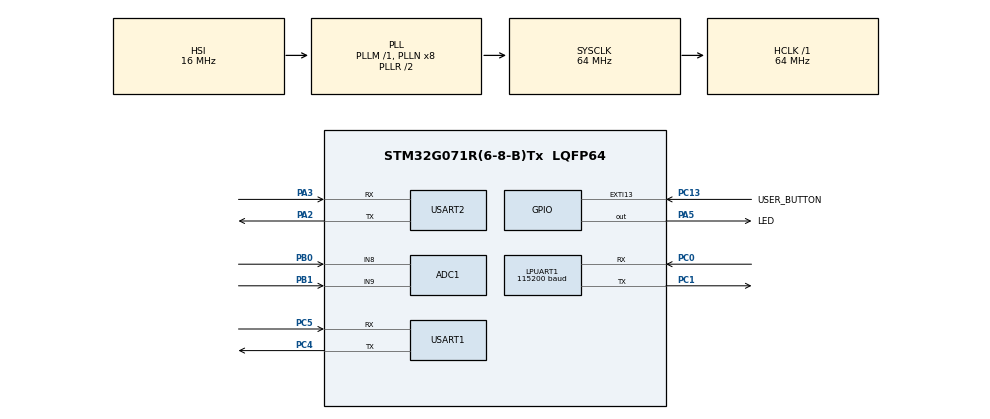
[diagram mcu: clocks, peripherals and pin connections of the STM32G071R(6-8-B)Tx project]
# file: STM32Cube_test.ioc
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ADC1.ClockPrescaler=ADC_CLOCK_ASYNC_DIV1
ADC1.ContinuousConvMode=ENABLE
ADC1.DMAContinuousRequests=ENABLE
ADC1.EOCSelection=ADC_EOC_SEQ_CONV
ADC1.NbrOfConversion=1
ADC1.NbrOfConversionFlag=0
ADC1.SamplingTimeCommon1=ADC_SAMPLETIME_3CYCLES_5
ADC1.Sequencer=NOT_FULLY_CONFIGURABLE
ADC1.master=1
Dma.ADC1.1.Direction=DMA_PERIPH_TO_MEMORY
Dma.ADC1.1.EventEnable=DISABLE
Dma.ADC1.1.Instance=DMA1_Channel2
Dma.ADC1.1.MemDataAlignment=DMA_MDATAALIGN_WORD
Dma.ADC1.1.MemInc=DMA_MINC_ENABLE
Dma.ADC1.1.Mode=DMA_CIRCULAR
Dma.ADC1.1.PeriphDataAlignment=DMA_PDATAALIGN_WORD
Dma.ADC1.1.PeriphInc=DMA_PINC_DISABLE
Dma.ADC1.1.Polarity=HAL_DMAMUX_REQ_GEN_RISING
Dma.ADC1.1.Priority=DMA_PRIORITY_LOW
Dma.ADC1.1.RequestNumber=1
Dma.ADC1.1.SignalID=NONE
Dma.ADC1.1.SyncEnable=DISABLE
Dma.ADC1.1.SyncPolarity=HAL_DMAMUX_SYNC_NO_EVENT
Dma.ADC1.1.SyncRequestNumber=1
Dma.ADC1.1.SyncSignalID=NONE
Dma.Request0=USART1_RX
Dma.Request1=ADC1
Dma.USART1_RX.0.Direction=DMA_PERIPH_TO_MEMORY
Dma.USART1_RX.0.EventEnable=DISABLE
Dma.USART1_RX.0.Instance=DMA1_Channel1
Dma.USART1_RX.0.MemDataAlignment=DMA_MDATAALIGN_BYTE
Dma.USART1_RX.0.MemInc=DMA_MINC_ENABLE
Dma.USART1_RX.0.Mode=DMA_NORMAL
Dma.USART1_RX.0.PeriphDataAlignment=DMA_PDATAALIGN_BYTE
Dma.USART1_RX.0.PeriphInc=DMA_PINC_DISABLE
Dma.USART1_RX.0.Polarity=HAL_DMAMUX_REQ_GEN_RISING
Dma.USART1_RX.0.Priority=DMA_PRIORITY_LOW
Dma.USART1_RX.0.RequestNumber=1
Dma.USART1_RX.0.SignalID=NONE
Dma.USART1_RX.0.SyncEnable=DISABLE
Dma.USART1_RX.0.SyncPolarity=HAL_DMAMUX_SYNC_NO_EVENT
Dma.USART1_RX.0.SyncRequestNumber=1
Dma.USART1_RX.0.SyncSignalID=NONE
IWDG.Prescaler=IWDG_PRESCALER_128
IWDG.Reload=2500
IWDG.Window=2500
LPUART1.BaudRate=115200
LPUART1.WordLength=UART_WORDLENGTH_8B
Mcu.Family=STM32G0
Mcu.Name=STM32G071R(6-8-B)Tx
Mcu.Package=LQFP64
NVIC.DMA1_Channel1_IRQn=true\:0\:0\:false\:false\:true\:false\:true
NVIC.DMA1_Channel2_3_IRQn=true\:0\:0\:false\:false\:true\:false\:true
NVIC.EXTI4_15_IRQn=true\:0\:0\:false\:false\:true\:true\:true
NVIC.USART1_IRQn=true\:0\:0\:false\:false\:true\:true\:true
NVIC.USART2_IRQn=true\:0\:0\:false\:false\:true\:true\:true
NVIC.USART3_4_LPUART1_IRQn=true\:0\:0\:false\:false\:true\:true\:true
PA13.Mode=Serial_Wire
PA13.Signal=SYS_SWDIO
PA14-BOOT0.Mode=Serial_Wire
PA14-BOOT0.Signal=SYS_SWCLK
PA2.Mode=Asynchronous
PA2.Signal=USART2_TX
PA3.Mode=Asynchronous
PA3.Signal=USART2_RX
PA5.GPIO_Label=LED
PA5.Signal=GPIO_Output
PB0.Mode=IN8
PB0.Signal=ADC1_IN8
PB1.Mode=IN9
PB1.Signal=ADC1_IN9
PC0.Mode=Asynchronous
PC0.Signal=LPUART1_RX
PC1.Mode=Asynchronous
PC1.Signal=LPUART1_TX
PC13.GPIO_Label=USER_BUTTON
PC13.Signal=GPXTI13
PC4.Mode=Asynchronous
PC4.Signal=USART1_TX
PC5.Mode=Asynchronous
PC5.Signal=USART1_RX
ProjectManager.HeapSize=0x200
ProjectManager.StackSize=0x400
ProjectManager.TargetToolchain=MDK-ARM V5
RCC.ADCFreq_Value=64000000
RCC.AHBFreq_Value=64000000
RCC.CortexFreq_Value=64000000
RCC.EXTERNAL_CLOCK_VALUE=48000
RCC.HCLKFreq_Value=64000000
RCC.HSE_VALUE=8000000
RCC.HSI_VALUE=16000000
RCC.LSE_VALUE=32768
RCC.SYSCLKFreq_VALUE=64000000
RCC.SYSCLKSource=RCC_SYSCLKSOURCE_PLLCLK
RCC.VCOOutputFreq_Value=128000000
USART1.VirtualMode-Asynchronous=VM_ASYNC
USART2.VirtualMode-Asynchronous=VM_ASYNC
VP_IWDG_VS_IWDG.Mode=IWDG_Activate
VP_SYS_VS_DBSignals.Mode=DisableDeadBatterySignals
board=custom

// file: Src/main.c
/* USER CODE BEGIN Header */
/**
  ******************************************************************************
  * @file           : main.c
  * @brief          : Main program body
  ******************************************************************************
  * @attention
  *
  * <h2><center>&copy; Copyright (c) 2020 STMicroelectronics.
  * All rights reserved.</center></h2>
  *
  * This software component is licensed by ST under BSD 3-Clause license,
  * the "License"; You may not use this file except in compliance with the
  * License. You may obtain a copy of the License at:
  *                        opensource.org/licenses/BSD-3-Clause
  *
  ******************************************************************************
  */
/* USER CODE END Header */

#include "main.h"

/* USER CODE BEGIN Includes */
#include <stdio.h>
#include <string.h>
/* USER CODE END Includes */

/* USER CODE BEGIN PD */
// #define PUTCHAR_PROTOTYPE int fputc(int ch, FILE *f)
#ifdef __GNUC__
  /* With GCC/RAISONANCE, small printf (option LD Linker->Libraries->Small printf
     set to 'Yes') calls __io_putchar() */
  #define PUTCHAR_PROTOTYPE int __io_putchar(int ch)
#else
  #define PUTCHAR_PROTOTYPE int fputc(int ch, FILE *f)
#endif /* __GNUC__ */
/* USER CODE END PD */

ADC_HandleTypeDef hadc1;
DMA_HandleTypeDef hdma_adc1;

IWDG_HandleTypeDef hiwdg;

UART_HandleTypeDef hlpuart1;
UART_HandleTypeDef huart1;
UART_HandleTypeDef huart2;
DMA_HandleTypeDef hdma_usart1_rx;

/* USER CODE BEGIN PV */
uint8_t recvByte = 0;
uint8_t usart1_recv_buf[USART1_RX_BUF_SIZE] = {0};
uint16_t usart1_recv_pos = 0;
uint8_t usart1_recv_flag = 0;
/* USER CODE END PV */

void SystemClock_Config(void);
static void MX_GPIO_Init(void);
static void MX_DMA_Init(void);
static void MX_USART1_UART_Init(void);
static void MX_USART2_UART_Init(void);
static void MX_LPUART1_UART_Init(void);
static void MX_IWDG_Init(void);
static void MX_ADC1_Init(void);
/* USER CODE BEGIN PFP */
uint32_t Adc_getValue(uint32_t channel);
/* USER CODE END PFP */

int main(void)
{
  /* USER CODE BEGIN 1 */
  uint32_t adc_value[100] = {0};
  uint32_t adc_value_ch8 = 0;
  uint32_t adc_value_ch9 = 0;
  uint8_t i;
  /* USER CODE END 1 */

  /* MCU Configuration--------------------------------------------------------*/

  /* Reset of all peripherals, Initializes the Flash interface and the Systick. */
  HAL_Init();

  /* Configure the system clock */
  SystemClock_Config();

  /* Initialize all configured peripherals */
  MX_GPIO_Init();
  MX_DMA_Init();
  MX_USART1_UART_Init();
  MX_USART2_UART_Init();
  MX_LPUART1_UART_Init();
  // MX_IWDG_Init();
  MX_ADC1_Init();
  /* USER CODE BEGIN 2 */
  printf("** Hello Nucleo! ** \n");
  /* UART1: Start the DMA receive process */
  HAL_UART_Receive_DMA(&huart1, usart1_recv_buf, 10);
  /* ADC1: Start the conversion process and enable interrupt */
  HAL_ADC_Start_DMA(&hadc1, (uint32_t*)&adc_value, 100);
  /* USER CODE END 2 */

  /* Infinite loop */
  /* USER CODE BEGIN WHILE */
  while (1)
  {
    /* UART1 interrupt recv test begin */
    // if (usart1_recv_flag)
    // {
    //   printf("recv data: %s\n", usart1_recv_buf);
    //   memset(usart1_recv_buf, 0, usart1_recv_pos);
    //   usart1_recv_pos = 0;
    //   usart1_recv_flag = 0;
    // }
    /* UART1 interrupt recv test end */

    /* UART1 DMA recv test begin */
    /* NOTE: 需要关闭UART1中断方式相关的回调函数，注意DMA接收数据的长度，目前发送10字节正常，其他长度数据会移位 */
    // if (usart1_recv_buf[0] != 0) // 判断存储接收数据的数组首字节是否为空
    // {
    //   HAL_Delay(10); // 保障数据完整，等待DMA接收完成
    //   printf("DMA recv data: %s\n", usart1_recv_buf);
    //   // memset(usart1_recv_buf, 0, 10);
    //   usart1_recv_buf[0] = 0; // 清除首字节数据
    //   while (HAL_DMA_GetState(&hdma_usart1_rx) != HAL_DMA_STATE_READY){;} // 检测DMA状态
    //   HAL_UART_Receive_DMA(&huart1, usart1_recv_buf, 10); // 开启DMA接收，有数据直接存入内存
    // }
    /* UART1 DMA recv test end */

    /* ADC test begin */
    // printf("\r\n******** ADC test ********\r\n");
    // adc_value_ch8 = Adc_getValue(ADC_CHANNEL_8);
    // printf("voltage PB0 = %1.3fV\n", adc_value_ch8 * 3.3f / 4096);
    // HAL_Delay(100);

    // adc_value_ch9 = Adc_getValue(ADC_CHANNEL_9);
    // printf("voltage PB1 = %1.3fV\n", adc_value_ch9 * 3.3f / 4096);
    // HAL_Delay(1000);
    /* ADC test end */

    /* ADC DMA test begin */
    HAL_Delay(1000);
    for (i = 0, adc_value_ch8 = 0, adc_value_ch9 = 0; i < 100;)
    {
      adc_value_ch8 += adc_value[i++]; // 偶数下标为通道8的值
      adc_value_ch9 += adc_value[i++]; // 奇数下标为通道9的值
    }
    adc_value_ch8 /= 50;
    adc_value_ch9 /= 50;

    printf("\r\n******** ADC DMA test ********\r\n");
    printf(" voltage PB0 = %1.3fV \r\n", adc_value_ch8 * 3.3f / 4096);
    printf(" voltage PB1 = %1.3fV \r\n", adc_value_ch9 * 3.3f / 4096);
    /* ADC DMA test end */
    /* USER CODE END WHILE */

  }
}

void SystemClock_Config(void)
{
  RCC_OscInitTypeDef RCC_OscInitStruct = {0};
  RCC_ClkInitTypeDef RCC_ClkInitStruct = {0};
  RCC_PeriphCLKInitTypeDef PeriphClkInit = {0};

  /** Configure the main internal regulator output voltage
  */
  HAL_PWREx_ControlVoltageScaling(PWR_REGULATOR_VOLTAGE_SCALE1);
  /** Initializes the CPU, AHB and APB busses clocks
  */
  RCC_OscInitStruct.OscillatorType = RCC_OSCILLATORTYPE_HSI|RCC_OSCILLATORTYPE_LSI;
  RCC_OscInitStruct.HSIState = RCC_HSI_ON;
  RCC_OscInitStruct.HSIDiv = RCC_HSI_DIV1;
  RCC_OscInitStruct.HSICalibrationValue = RCC_HSICALIBRATION_DEFAULT;
  RCC_OscInitStruct.LSIState = RCC_LSI_ON;
  RCC_OscInitStruct.PLL.PLLState = RCC_PLL_ON;
  RCC_OscInitStruct.PLL.PLLSource = RCC_PLLSOURCE_HSI;
  RCC_OscInitStruct.PLL.PLLM = RCC_PLLM_DIV1;
  RCC_OscInitStruct.PLL.PLLN = 8;
  RCC_OscInitStruct.PLL.PLLP = RCC_PLLP_DIV2;
  RCC_OscInitStruct.PLL.PLLQ = RCC_PLLQ_DIV2;
  RCC_OscInitStruct.PLL.PLLR = RCC_PLLR_DIV2;
  if (HAL_RCC_OscConfig(&RCC_OscInitStruct) != HAL_OK)
  {
    Error_Handler();
  }
  /** Initializes the CPU, AHB and APB busses clocks
  */
  RCC_ClkInitStruct.ClockType = RCC_CLOCKTYPE_HCLK|RCC_CLOCKTYPE_SYSCLK
                              |RCC_CLOCKTYPE_PCLK1;
  RCC_ClkInitStruct.SYSCLKSource = RCC_SYSCLKSOURCE_PLLCLK;
  RCC_ClkInitStruct.AHBCLKDivider = RCC_SYSCLK_DIV1;
  RCC_ClkInitStruct.APB1CLKDivider = RCC_HCLK_DIV1;

  if (HAL_RCC_ClockConfig(&RCC_ClkInitStruct, FLASH_LATENCY_2) != HAL_OK)
  {
    Error_Handler();
  }
  /** Initializes the peripherals clocks
  */
  PeriphClkInit.PeriphClockSelection = RCC_PERIPHCLK_USART1|RCC_PERIPHCLK_USART2
                              |RCC_PERIPHCLK_LPUART1|RCC_PERIPHCLK_ADC;
  PeriphClkInit.Usart1ClockSelection = RCC_USART1CLKSOURCE_PCLK1;
  PeriphClkInit.Usart2ClockSelection = RCC_USART2CLKSOURCE_PCLK1;
  PeriphClkInit.Lpuart1ClockSelection = RCC_LPUART1CLKSOURCE_PCLK1;
  PeriphClkInit.AdcClockSelection = RCC_ADCCLKSOURCE_SYSCLK;
  if (HAL_RCCEx_PeriphCLKConfig(&PeriphClkInit) != HAL_OK)
  {
    Error_Handler();
  }
}

static void MX_ADC1_Init(void)
{

  ADC_ChannelConfTypeDef sConfig = {0};
  ADC_AnalogWDGConfTypeDef AnalogWDGConfig = {0};

  /** Configure the global features of the ADC (Clock, Resolution, Data Alignment and number of conversion)
  */
  hadc1.Instance = ADC1;
  hadc1.Init.ClockPrescaler = ADC_CLOCK_ASYNC_DIV1;
  hadc1.Init.Resolution = ADC_RESOLUTION_12B;
  hadc1.Init.DataAlign = ADC_DATAALIGN_RIGHT;
  hadc1.Init.ScanConvMode = ADC_SCAN_SEQ_FIXED;
  hadc1.Init.EOCSelection = ADC_EOC_SEQ_CONV;
  hadc1.Init.LowPowerAutoWait = DISABLE;
  hadc1.Init.LowPowerAutoPowerOff = DISABLE;
  hadc1.Init.ContinuousConvMode = ENABLE;
  hadc1.Init.NbrOfConversion = 1;
  hadc1.Init.DiscontinuousConvMode = DISABLE;
  hadc1.Init.ExternalTrigConv = ADC_SOFTWARE_START;
  hadc1.Init.ExternalTrigConvEdge = ADC_EXTERNALTRIGCONVEDGE_NONE;
  hadc1.Init.DMAContinuousRequests = ENABLE;
  hadc1.Init.Overrun = ADC_OVR_DATA_PRESERVED;
  hadc1.Init.SamplingTimeCommon1 = ADC_SAMPLETIME_3CYCLES_5;
  hadc1.Init.OversamplingMode = DISABLE;
  hadc1.Init.TriggerFrequencyMode = ADC_TRIGGER_FREQ_HIGH;
  if (HAL_ADC_Init(&hadc1) != HAL_OK)
  {
    Error_Handler();
  }
  /** Configure Regular Channel
  */
  sConfig.Channel = ADC_CHANNEL_8;
  sConfig.Rank = ADC_RANK_CHANNEL_NUMBER;
  if (HAL_ADC_ConfigChannel(&hadc1, &sConfig) != HAL_OK)
  {
    Error_Handler();
  }
  /** Configure Regular Channel
  */
  sConfig.Channel = ADC_CHANNEL_9;
  sConfig.Rank = ADC_RANK_CHANNEL_NUMBER;
  if (HAL_ADC_ConfigChannel(&hadc1, &sConfig) != HAL_OK)
  {
    Error_Handler();
  }
  /** Configure Analog WatchDog 2
  */
  AnalogWDGConfig.WatchdogMode = ADC_ANALOGWATCHDOG_SINGLE_REG;
  if (HAL_ADC_AnalogWDGConfig(&hadc1, &AnalogWDGConfig) != HAL_OK)
  {
    Error_Handler();
  }
  /* USER CODE BEGIN ADC1_Init 2 */
  /** Configure Regular Channel
  */
  sConfig.Channel = ADC_CHANNEL_9;
  sConfig.Rank = ADC_REGULAR_RANK_2;
  sConfig.SamplingTime = ADC_SAMPLINGTIME_COMMON_1;
  if (HAL_ADC_ConfigChannel(&hadc1, &sConfig) != HAL_OK)
  {
    Error_Handler();
  }
  /* USER CODE END ADC1_Init 2 */

}

static void MX_IWDG_Init(void)
{

  hiwdg.Instance = IWDG;
  hiwdg.Init.Prescaler = IWDG_PRESCALER_128;
  hiwdg.Init.Window = 2500;
  hiwdg.Init.Reload = 2500;
  if (HAL_IWDG_Init(&hiwdg) != HAL_OK)
  {
    Error_Handler();
  }

}

static void MX_LPUART1_UART_Init(void)
{

  hlpuart1.Instance = LPUART1;
  hlpuart1.Init.BaudRate = 115200;
  hlpuart1.Init.WordLength = UART_WORDLENGTH_8B;
  hlpuart1.Init.StopBits = UART_STOPBITS_1;
  hlpuart1.Init.Parity = UART_PARITY_NONE;
  hlpuart1.Init.Mode = UART_MODE_TX_RX;
  hlpuart1.Init.HwFlowCtl = UART_HWCONTROL_NONE;
  hlpuart1.Init.OneBitSampling = UART_ONE_BIT_SAMPLE_DISABLE;
  hlpuart1.Init.ClockPrescaler = UART_PRESCALER_DIV1;
  hlpuart1.AdvancedInit.AdvFeatureInit = UART_ADVFEATURE_NO_INIT;
  hlpuart1.FifoMode = UART_FIFOMODE_DISABLE;
  if (HAL_UART_Init(&hlpuart1) != HAL_OK)
  {
    Error_Handler();
  }
  if (HAL_UARTEx_SetTxFifoThreshold(&hlpuart1, UART_TXFIFO_THRESHOLD_1_8) != HAL_OK)
  {
    Error_Handler();
  }
  if (HAL_UARTEx_SetRxFifoThreshold(&hlpuart1, UART_RXFIFO_THRESHOLD_1_8) != HAL_OK)
  {
    Error_Handler();
  }
  if (HAL_UARTEx_DisableFifoMode(&hlpuart1) != HAL_OK)
  {
    Error_Handler();
  }

}

static void MX_USART1_UART_Init(void)
{

  huart1.Instance = USART1;
  huart1.Init.BaudRate = 115200;
  huart1.Init.WordLength = UART_WORDLENGTH_8B;
  huart1.Init.StopBits = UART_STOPBITS_1;
  huart1.Init.Parity = UART_PARITY_NONE;
  huart1.Init.Mode = UART_MODE_TX_RX;
  huart1.Init.HwFlowCtl = UART_HWCONTROL_NONE;
  huart1.Init.OverSampling = UART_OVERSAMPLING_16;
  huart1.Init.OneBitSampling = UART_ONE_BIT_SAMPLE_DISABLE;
  huart1.Init.ClockPrescaler = UART_PRESCALER_DIV1;
  huart1.AdvancedInit.AdvFeatureInit = UART_ADVFEATURE_NO_INIT;
  if (HAL_UART_Init(&huart1) != HAL_OK)
  {
    Error_Handler();
  }
  if (HAL_UARTEx_SetTxFifoThreshold(&huart1, UART_TXFIFO_THRESHOLD_1_8) != HAL_OK)
  {
    Error_Handler();
  }
  if (HAL_UARTEx_SetRxFifoThreshold(&huart1, UART_RXFIFO_THRESHOLD_1_8) != HAL_OK)
  {
    Error_Handler();
  }
  if (HAL_UARTEx_DisableFifoMode(&huart1) != HAL_OK)
  {
    Error_Handler();
  }
  /* USER CODE BEGIN USART1_Init 2 */
  // HAL_UART_Receive_IT(&huart1, &recvByte, 1);
  /* USER CODE END USART1_Init 2 */

}

static void MX_USART2_UART_Init(void)
{

  huart2.Instance = USART2;
  huart2.Init.BaudRate = 115200;
  huart2.Init.WordLength = UART_WORDLENGTH_8B;
  huart2.Init.StopBits = UART_STOPBITS_1;
  huart2.Init.Parity = UART_PARITY_NONE;
  huart2.Init.Mode = UART_MODE_TX_RX;
  huart2.Init.HwFlowCtl = UART_HWCONTROL_NONE;
  huart2.Init.OverSampling = UART_OVERSAMPLING_16;
  huart2.Init.OneBitSampling = UART_ONE_BIT_SAMPLE_DISABLE;
  huart2.Init.ClockPrescaler = UART_PRESCALER_DIV1;
  huart2.AdvancedInit.AdvFeatureInit = UART_ADVFEATURE_NO_INIT;
  if (HAL_UART_Init(&huart2) != HAL_OK)
  {
    Error_Handler();
  }
  if (HAL_UARTEx_SetTxFifoThreshold(&huart2, UART_TXFIFO_THRESHOLD_1_8) != HAL_OK)
  {
    Error_Handler();
  }
  if (HAL_UARTEx_SetRxFifoThreshold(&huart2, UART_RXFIFO_THRESHOLD_1_8) != HAL_OK)
  {
    Error_Handler();
  }
  if (HAL_UARTEx_DisableFifoMode(&huart2) != HAL_OK)
  {
    Error_Handler();
  }

}

static void MX_DMA_Init(void)
{

  /* DMA controller clock enable */
  __HAL_RCC_DMA1_CLK_ENABLE();

  /* DMA interrupt init */
  /* DMA1_Channel1_IRQn interrupt configuration */
  HAL_NVIC_SetPriority(DMA1_Channel1_IRQn, 0, 0);
  HAL_NVIC_EnableIRQ(DMA1_Channel1_IRQn);
  /* DMA1_Channel2_3_IRQn interrupt configuration */
  HAL_NVIC_SetPriority(DMA1_Channel2_3_IRQn, 0, 0);
  HAL_NVIC_EnableIRQ(DMA1_Channel2_3_IRQn);

}

static void MX_GPIO_Init(void)
{
  GPIO_InitTypeDef GPIO_InitStruct = {0};

  /* GPIO Ports Clock Enable */
  __HAL_RCC_GPIOC_CLK_ENABLE();
  __HAL_RCC_GPIOA_CLK_ENABLE();
  __HAL_RCC_GPIOB_CLK_ENABLE();

  /*Configure GPIO pin Output Level */
  HAL_GPIO_WritePin(LED_GPIO_Port, LED_Pin, GPIO_PIN_RESET);

  /*Configure GPIO pin : USER_BUTTON_Pin */
  GPIO_InitStruct.Pin = USER_BUTTON_Pin;
  GPIO_InitStruct.Mode = GPIO_MODE_IT_RISING;
  GPIO_InitStruct.Pull = GPIO_NOPULL;
  HAL_GPIO_Init(USER_BUTTON_GPIO_Port, &GPIO_InitStruct);

  /*Configure GPIO pin : LED_Pin */
  GPIO_InitStruct.Pin = LED_Pin;
  GPIO_InitStruct.Mode = GPIO_MODE_OUTPUT_PP;
  GPIO_InitStruct.Pull = GPIO_NOPULL;
  GPIO_InitStruct.Speed = GPIO_SPEED_FREQ_LOW;
  HAL_GPIO_Init(LED_GPIO_Port, &GPIO_InitStruct);

  /* EXTI interrupt init*/
  HAL_NVIC_SetPriority(EXTI4_15_IRQn, 0, 0);
  HAL_NVIC_EnableIRQ(EXTI4_15_IRQn);

}

/* USER CODE BEGIN 4 */
/**
  * @brief  Retargets the C library printf function to the USART.
  * @param  None
  * @retval None
  */
PUTCHAR_PROTOTYPE
{
  /* Place your implementation of fputc here */
  /* e.g. write a character to the EVAL_COM1 and Loop until the end of transmission */
  HAL_UART_Transmit(&huart2, (uint8_t *)&ch, 1, 0xFFFF);
  return ch;
}

uint32_t Adc_getValue(uint32_t channel)
{
    ADC_ChannelConfTypeDef sConfig = {0};

    sConfig.Channel = channel;
    sConfig.Rank = ADC_REGULAR_RANK_1;
    sConfig.SamplingTime = ADC_SAMPLINGTIME_COMMON_1;
    // sConfig.SamplingTime = ADC_SAMPLETIME_3CYCLES_5;
    HAL_ADC_ConfigChannel(&hadc1, &sConfig);
    HAL_ADC_Start(&hadc1);
    HAL_ADC_PollForConversion(&hadc1, 10);

    return HAL_ADC_GetValue(&hadc1);
}
#if 0
void HAL_UART_RxCpltCallback(UART_HandleTypeDef *huart)
{
  if (huart->Instance == USART1)
  {
    if (HAL_UART_Receive_IT(&huart1, &recvByte, 1) == HAL_OK)
    {
      usart1_recv_buf[usart1_recv_pos++] = recvByte;
    }
    // HAL_UART_Transmit(&huart1, &recvByte, 1, 0);
  }
}
#endif
/* USER CODE END 4 */

void Error_Handler(void)
{
}

/************************ (C) COPYRIGHT STMicroelectronics *****END OF FILE****/
